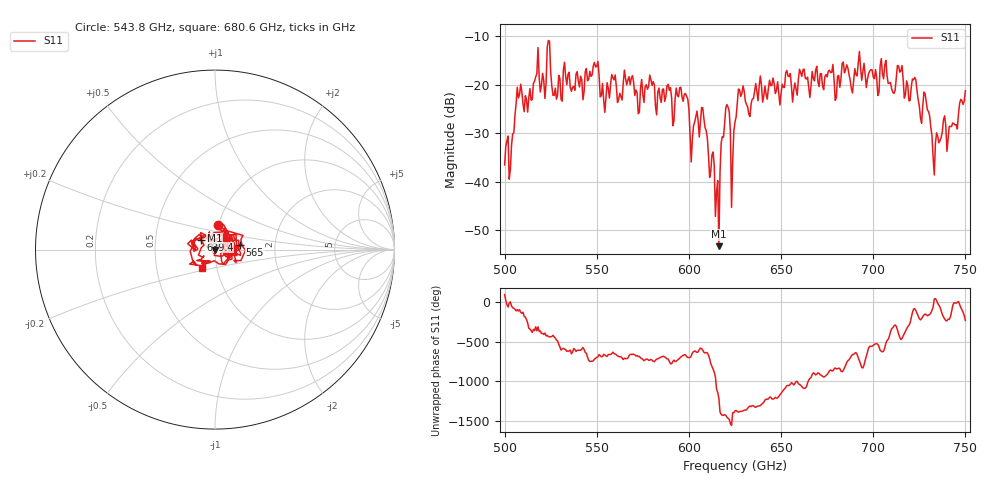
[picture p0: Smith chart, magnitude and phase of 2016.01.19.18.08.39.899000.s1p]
!Created with skrf (http://scikit-rf.org).
# GHz S RI R 50.0
!freq ReS11 ImS11
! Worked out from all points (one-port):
!   401 points, 500 GHz to 750 GHz, reference 50 ohm
!   lowest |S11| = -53.3 dB at 616.2 GHz (marker M1), VSWR 1.00, Z = 49.8 - j0.143 ohm
!   |S11| at or under -10 dB: start of sweep to end of sweep
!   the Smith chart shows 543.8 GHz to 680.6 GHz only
!   S11 on the Smith chart (normalised r, x): 543.8 GHz: 1.00, +0.28; 565 GHz: 1.32, +0.07; 639.4 GHz: 0.85, +0.10; 680.6 GHz: 0.85, -0.17
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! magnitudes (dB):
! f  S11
! 500 GHz  -36.5
! 503.8 GHz  -32.5
! 508.1 GHz  -22.0
! 523.8 GHz  -10.8
! 526.9 GHz  -22.2
! 531.2 GHz  -23.4
! 543.8 GHz  -17.3
! 549.4 GHz  -16.3
! 562.5 GHz  -21.7
! 565 GHz  -16.9
! 593.8 GHz  -22.2
! 601.9 GHz  -31.1
! 608.1 GHz  -27.0
! 615 GHz  -42.1
! 616.2 GHz  -53.3
! 620.6 GHz  -24.1
! 623.1 GHz  -45.3
! 625 GHz  -27.7
! 628.1 GHz  -22.4
! 639.4 GHz  -20.2
! 656.2 GHz  -23.5
! 680.6 GHz  -18.2
! 687.5 GHz  -19.1
! 714.4 GHz  -17.4
! 718.8 GHz  -20.1
! 728.8 GHz  -23.5
! 733.8 GHz  -32.0
! 750 GHz  -21.2
